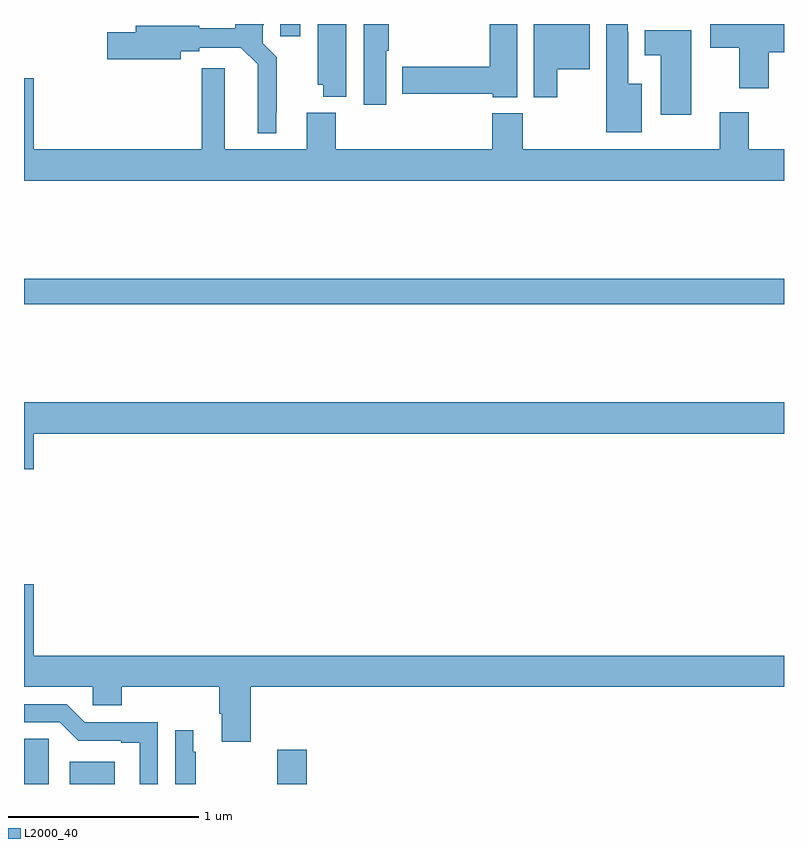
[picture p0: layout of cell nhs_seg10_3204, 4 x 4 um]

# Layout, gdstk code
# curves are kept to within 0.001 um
import gdstk
lib = gdstk.Library(unit=1e-6, precision=1e-09)
def R(c, l, rs):  # rectangles x0, y0, x1, y1
    for r in rs: c.add(gdstk.rectangle(r[:2], r[2:], *l))
def P(c, l, *ps):  # polygons
    for p in ps: c.add(gdstk.Polygon(p, *l))
L2000_40 = (2000, 40)

nhs_seg10_3204 = lib.new_cell('nhs_seg10_3204')
R(nhs_seg10_3204, L2000_40, [(285.242,1270.5,285.478,1270.618), (286.333,1270.5,286.487,1270.681), (285,1273.024,289,1273.16), (286.349,1274.436,286.453,1274.5)])
P(nhs_seg10_3204, L2000_40, [(286.906,1274.359),(286.919,1274.359),(286.919,1274.5),(286.787,1274.5),(286.787,1274.076),(286.906,1274.076)],
  [(288.25,1274.185),(288.181,1274.185),(288.181,1274.459),(288.177,1274.459),(288.177,1274.5),(288.065,1274.5),(288.065,1273.931),(288.25,1273.931)],
  [(286.327,1274.035),(286.331,1274.035),(286.331,1274.326),(286.257,1274.4),(286.257,1274.494),(286.261,1274.494),(286.261,1274.5),(286.112,1274.5),(286.112,1274.477),(285.922,1274.477),(285.922,1274.492),(285.587,1274.492),(285.587,1274.456),(285.438,1274.456),(285.438,1274.314),(285.826,1274.314),(285.826,1274.356),(285.922,1274.356),(285.922,1274.376),(286.142,1274.376),(286.23,1274.288),(286.229,1273.925),(286.327,1273.925)],
  [(288.919,1274.351),(289,1274.351),(289,1274.498),(288.919,1274.498),(288.919,1274.5),(288.612,1274.5),(288.612,1274.374),(288.764,1274.374),(288.764,1274.163),(288.919,1274.163)],
  [(287.596,1274.5),(287.45,1274.5),(287.45,1274.276),(286.992,1274.276),(286.992,1274.134),(287.466,1274.134),(287.466,1274.114),(287.596,1274.114)],
  [(286.696,1274.5),(286.547,1274.5),(286.547,1274.181),(286.574,1274.181),(286.574,1274.117),(286.696,1274.117)],
  [(287.806,1274.261),(287.977,1274.261),(287.977,1274.5),(287.684,1274.5),(287.684,1274.115),(287.806,1274.115)],
  [(288.511,1274.467),(288.266,1274.467),(288.266,1274.336),(288.35,1274.336),(288.35,1274.022),(288.511,1274.022)],
  [(289,1273.84),(288.815,1273.84),(288.815,1274.035),(288.662,1274.035),(288.662,1273.84),(287.625,1273.84),(287.625,1274.029),(287.465,1274.029),(287.465,1273.84),(286.64,1273.84),(286.64,1274.032),(286.487,1274.032),(286.487,1273.84),(286.057,1273.84),(286.057,1274.266),(285.935,1274.266),(285.935,1273.84),(285.052,1273.84),(285.052,1274.215),(285,1274.215),(285,1273.676),(289,1273.676)],
  [(285.052,1272.344),(289,1272.344),(289,1272.508),(285,1272.508),(285,1272.156),(285.052,1272.156)],
  [(286.193,1271.012),(289,1271.012),(289,1271.176),(285.052,1271.176),(285.052,1271.551),(285,1271.551),(285,1271.012),(285.363,1271.012),(285.363,1270.914),(285.515,1270.914),(285.515,1271.012),(286.028,1271.012),(286.028,1270.87),(286.04,1270.87),(286.04,1270.722),(286.193,1270.722)],
  [(285.705,1270.824),(285.321,1270.824),(285.225,1270.92),(285,1270.92),(285,1270.824),(285.189,1270.824),(285.285,1270.728),(285.512,1270.728),(285.512,1270.716),(285.608,1270.716),(285.608,1270.5),(285.705,1270.5)],
  [(285.904,1270.67),(285.892,1270.67),(285.892,1270.783),(285.795,1270.783),(285.795,1270.5),(285.904,1270.5)],
  [(285.13,1270.628),(285.129,1270.628),(285.129,1270.739),(285,1270.739),(285,1270.5),(285.13,1270.5)])

lib.write_gds('nhs_seg10_3204.gds')
